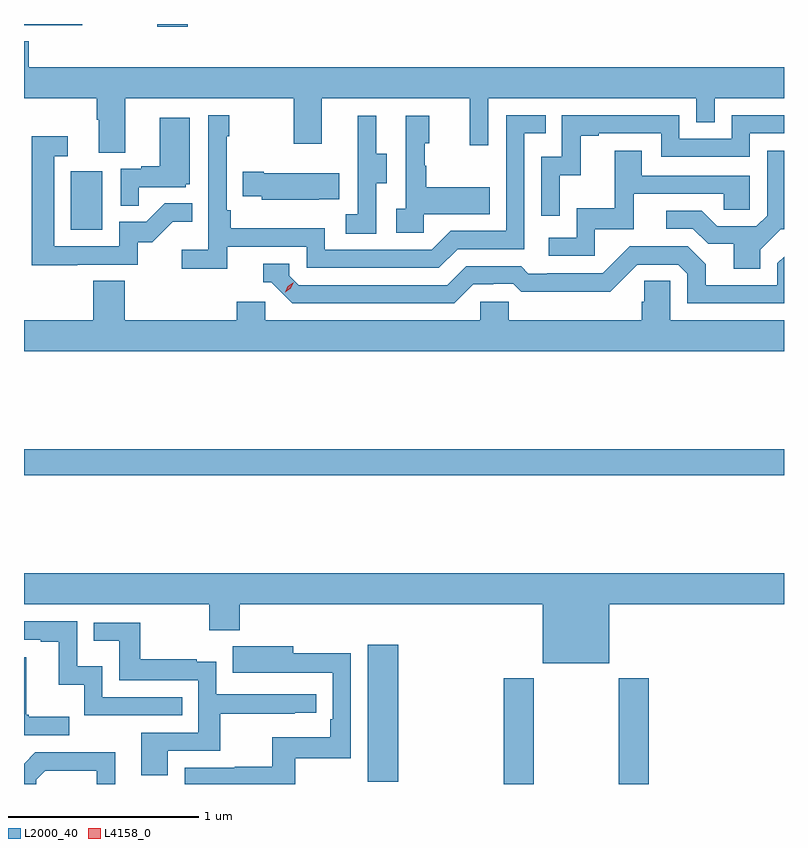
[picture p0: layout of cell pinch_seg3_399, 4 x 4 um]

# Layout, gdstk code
import gdstk
lib = gdstk.Library(unit=1e-6, precision=1e-09)
def R(c, l, rs):  # rectangles x0, y0, x1, y1
    for r in rs: c.add(gdstk.rectangle(r[:2], r[2:], *l))
def P(c, l, *ps):  # polygons
    for p in ps: c.add(gdstk.Polygon(p, *l))
L2000_40 = (2000, 40)
L4158_0 = (4158, 0)

pinch_seg3_399 = lib.new_cell('pinch_seg3_399')
R(pinch_seg3_399, L2000_40, [(915.071,687.983,915.231,688.54), (915.676,687.983,915.836,688.54), (914.357,687.996,914.518,688.717), (912.547,689.608,916.547,689.744), (912.794,690.9,912.958,691.207), (913.247,691.968,913.408,691.983), (912.547,691.976,912.853,691.983)])
P(pinch_seg3_399, L2000_40, [(913.081,691.592),(913.966,691.592),(913.966,691.353),(914.113,691.353),(914.113,691.592),(914.894,691.592),(914.894,691.344),(914.991,691.344),(914.991,691.592),(916.086,691.592),(916.086,691.465),(916.182,691.465),(916.182,691.592),(916.547,691.592),(916.547,691.756),(912.572,691.756),(912.572,691.891),(912.547,691.891),(912.547,691.592),(912.929,691.592),(912.929,691.48),(912.941,691.48),(912.941,691.306),(913.081,691.306)],
  [(913.616,690.81),(914.034,690.81),(914.034,690.699),(914.731,690.699),(914.83,690.798),(915.18,690.798),(915.18,691.407),(915.293,691.407),(915.293,691.503),(915.084,691.503),(915.084,690.894),(914.793,690.894),(914.694,690.795),(914.13,690.795),(914.13,690.907),(913.634,690.907),(913.634,691.003),(913.614,691.003),(913.614,691.391),(913.627,691.391),(913.627,691.504),(913.518,691.504),(913.518,690.796),(913.377,690.796),(913.377,690.694),(913.616,690.694)],
  [(915.366,691.187),(915.476,691.187),(915.476,691.395),(915.571,691.395),(915.571,691.407),(915.9,691.407),(915.9,691.284),(916.368,691.284),(916.368,691.407),(916.547,691.407),(916.547,691.503),(916.272,691.503),(916.272,691.38),(915.996,691.38),(915.996,691.503),(915.378,691.503),(915.378,691.284),(915.27,691.284),(915.27,690.975),(915.366,690.975)],
  [(914.4,691.144),(914.455,691.144),(914.455,691.299),(914.401,691.299),(914.401,691.501),(914.303,691.501),(914.303,691.287),(914.304,691.287),(914.304,690.983),(914.241,690.983),(914.241,690.88),(914.4,690.88)],
  [(914.652,690.983),(914.999,690.983),(914.999,691.123),(914.665,691.123),(914.665,691.238),(914.655,691.238),(914.655,691.356),(914.68,691.356),(914.68,691.501),(914.556,691.501),(914.556,691.01),(914.505,691.01),(914.505,690.885),(914.652,690.885)],
  [(913.151,691.125),(913.398,691.125),(913.398,691.14),(913.42,691.14),(913.42,691.489),(913.262,691.489),(913.262,691.234),(913.163,691.234),(913.163,691.221),(913.056,691.221),(913.056,691.027),(913.151,691.027)],
  [(912.827,690.717),(913.146,690.717),(913.146,690.834),(913.222,690.834),(913.329,690.941),(913.433,690.941),(913.433,691.04),(913.289,691.04),(913.191,690.942),(913.047,690.942),(913.047,690.813),(912.705,690.813),(912.705,691.287),(912.778,691.287),(912.778,691.393),(912.589,691.393),(912.589,690.712),(912.827,690.712)],
  [(915.552,690.903),(915.757,690.903),(915.757,691.089),(916.231,691.089),(916.231,691.005),(916.368,691.005),(916.368,691.185),(915.799,691.185),(915.799,691.315),(915.655,691.315),(915.655,691.012),(915.456,691.012),(915.456,690.858),(915.309,690.858),(915.309,690.762),(915.552,690.762)],
  [(916.423,690.796),(916.53,690.903),(916.547,690.903),(916.547,691.315),(916.458,691.315),(916.458,690.975),(916.401,690.918),(916.195,690.918),(916.114,690.999),(915.927,690.999),(915.927,690.906),(916.068,690.906),(916.148,690.826),(916.283,690.826),(916.283,690.694),(916.423,690.694)],
  [(914.099,691.061),(914.207,691.061),(914.207,691.198),(913.81,691.198),(913.81,691.206),(913.699,691.206),(913.699,691.076),(913.797,691.076),(913.797,691.058),(914.099,691.058)],
  [(914.911,690.612),(915.018,690.612),(915.018,690.615),(915.121,690.615),(915.163,690.573),(915.396,690.573),(915.396,690.575),(915.632,690.575),(915.774,690.717),(915.99,690.717),(916.038,690.669),(916.038,690.513),(916.547,690.513),(916.547,690.758),(916.512,690.723),(916.512,690.609),(916.135,690.609),(916.135,690.719),(916.041,690.813),(915.735,690.813),(915.594,690.672),(915.301,690.672),(915.301,690.669),(915.202,690.669),(915.163,690.708),(914.874,690.708),(914.775,690.609),(913.992,690.609),(913.944,690.657),(913.944,690.72),(913.805,690.72),(913.805,690.624),(913.848,690.624),(913.959,690.513),(914.812,690.513)],
  [(916.547,690.424),(915.948,690.424),(915.948,690.632),(915.811,690.632),(915.811,690.522),(915.797,690.522),(915.797,690.424),(915.099,690.424),(915.099,690.522),(914.949,690.522),(914.949,690.424),(913.818,690.424),(913.818,690.522),(913.667,690.522),(913.667,690.424),(913.076,690.424),(913.076,690.632),(912.911,690.632),(912.911,690.424),(912.547,690.424),(912.547,690.26),(916.547,690.26)],
  [(915.628,688.928),(916.547,688.928),(916.547,689.092),(912.547,689.092),(912.547,688.928),(913.522,688.928),(913.522,688.793),(913.682,688.793),(913.682,688.928),(915.278,688.928),(915.278,688.619),(915.628,688.619)],
  [(913.379,688.44),(912.96,688.44),(912.96,688.603),(912.828,688.603),(912.828,688.839),(912.547,688.839),(912.547,688.743),(912.635,688.743),(912.635,688.731),(912.731,688.731),(912.731,688.505),(912.864,688.505),(912.864,688.344),(913.379,688.344)],
  [(913.303,688.158),(913.58,688.158),(913.58,688.354),(913.973,688.354),(913.973,688.359),(914.086,688.359),(914.086,688.455),(913.56,688.455),(913.56,688.627),(913.457,688.627),(913.457,688.639),(913.159,688.639),(913.159,688.833),(912.913,688.833),(912.913,688.736),(913.048,688.736),(913.048,688.53),(913.464,688.53),(913.464,688.254),(913.163,688.254),(913.163,688.03),(913.303,688.03)],
  [(913.975,688.119),(914.268,688.119),(914.268,688.67),(913.963,688.67),(913.963,688.708),(913.645,688.708),(913.645,688.568),(913.859,688.568),(913.859,688.569),(914.172,688.569),(914.172,688.324),(914.159,688.324),(914.159,688.228),(913.854,688.228),(913.854,688.073),(913.657,688.073),(913.657,688.068),(913.392,688.068),(913.392,687.983),(913.975,687.983)],
  [(912.784,688.336),(912.571,688.336),(912.571,688.348),(912.559,688.348),(912.559,688.651),(912.547,688.651),(912.547,688.239),(912.784,688.239)],
  [(912.612,688.005),(912.66,688.053),(912.93,688.053),(912.93,687.983),(913.027,687.983),(913.027,688.151),(912.822,688.151),(912.822,688.149),(912.606,688.149),(912.547,688.09),(912.547,687.983),(912.612,687.983)])
P(pinch_seg3_399, L4158_0, [(913.921,690.571),(913.921,690.571),(913.936,690.604),(913.967,690.624),(913.967,690.624),(913.967,690.624),(913.952,690.591),(913.921,690.571)])

lib.write_gds('pinch_seg3_399.gds')
